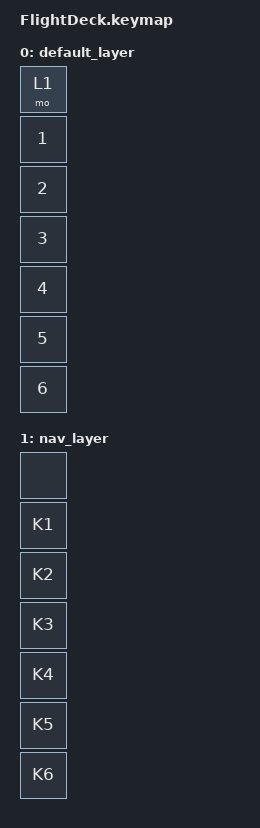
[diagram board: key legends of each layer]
#include <behaviors.dtsi>
#include <dt-bindings/zmk/bt.h>
#include <dt-bindings/zmk/keys.h>

/ {
    keymap {
        compatible = "zmk,keymap";

        default_layer {
// ------------------------------------------------------------
// |             |  N2  |   N4  |   N6    |         |         |
// |  MO(1)      |  N1  |   N3  |   N5    | L_thumb | R_thumb |
// ------------------------------------------------------------
            bindings = < &mo 1  
            &kp N1
            &kp N2
            &kp N3
            &kp N4
            &kp N5
            &kp N6 >;
            
            };

         nav_layer {
// --------------------------
// | BT_CLR |  HOME |  PGUP |
// | _      |  END  |  PGDN |
// | _      |  _    |  _    |
// | _      |  _    |  _    |
// --------------------------
// ------------------------------------------------------------
// |             |  N2  |   N4  |   N6    |         |         |
// |  none       |  N1  |   N3  |   N5    | L_thumb | R_thumb |
// ------------------------------------------------------------
            bindings = < &none
            &kp K1
            &kp K2
            &kp K3
            &kp K4
            &kp K5
            &kp K6 >;
         };
    };
};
